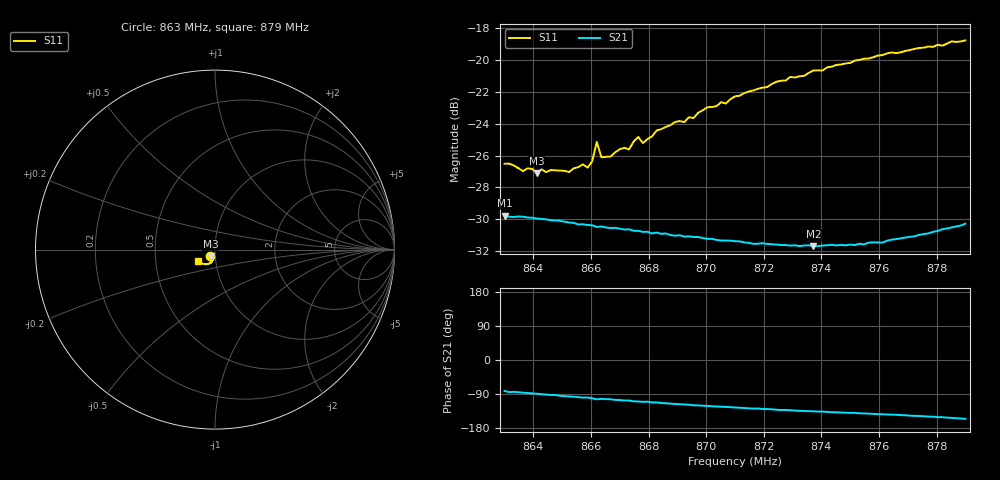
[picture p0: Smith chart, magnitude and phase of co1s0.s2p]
# HZ S RI R 50
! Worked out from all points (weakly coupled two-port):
!   101 points, 863 MHz to 879 MHz, reference 50 ohm
!   highest |S21| = -29.77 dB at 863 MHz (marker M1); lowest = -31.7 dB at 873.72 MHz (marker M2)
!   lowest |S11| = -27.1 dB at 864.12 MHz (marker M3), VSWR 1.09, Z = 47.6 - j3.57 ohm
!   |S11| at or under -10 dB: start of sweep to end of sweep
!   S12 and S22 are empty: the file has one direction only
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8.63e8  -0.0299 -0.0365  0.00465 -0.0322  0 0  0 0
8.6412e8  -0.0235 -0.0375  0.000529 -0.0318  0 0  0 0
8.6428e8  -0.0221 -0.0396  -9.4e-05 -0.0317  0 0  0 0
8.6524e8  -0.0179 -0.0407  -0.00333 -0.0307  0 0  0 0
8.6572e8  -0.0161 -0.0442  -0.00494 -0.0301  0 0  0 0
8.6588e8  -0.015 -0.0434  -0.0047 -0.03  0 0  0 0
8.6604e8  -0.0148 -0.0457  -0.00569 -0.0298  0 0  0 0
8.662e8  -0.0228 -0.0504  -0.00713 -0.0291  0 0  0 0
8.6636e8  -0.0169 -0.0466  -0.00654 -0.0293  0 0  0 0
8.6668e8  -0.0119 -0.0483  -0.00696 -0.0289  0 0  0 0
8.67e8  -0.0149 -0.0503  -0.00804 -0.0284  0 0  0 0
8.6732e8  -0.0121 -0.051  -0.00855 -0.0281  0 0  0 0
8.6764e8  -0.0158 -0.0551  -0.00971 -0.0274  0 0  0 0
8.678e8  -0.0127 -0.0534  -0.0101 -0.0271  0 0  0 0
8.6844e8  -0.0136 -0.0591  -0.0113 -0.0261  0 0  0 0
8.6956e8  -0.0177 -0.0633  -0.0137 -0.0242  0 0  0 0
8.7004e8  -0.0198 -0.0682  -0.0142 -0.0235  0 0  0 0
8.7068e8  -0.0209 -0.0699  -0.0151 -0.0225  0 0  0 0
8.71e8  -0.0236 -0.0731  -0.0156 -0.022  0 0  0 0
8.7372e8  -0.0432 -0.0819  -0.0185 -0.0183  0 0  0 0
8.7644e8  -0.0705 -0.0784  -0.0221 -0.0159  0 0  0 0
8.79e8  -0.0961 -0.0634  -0.0278 -0.0128  0 0  0 0
